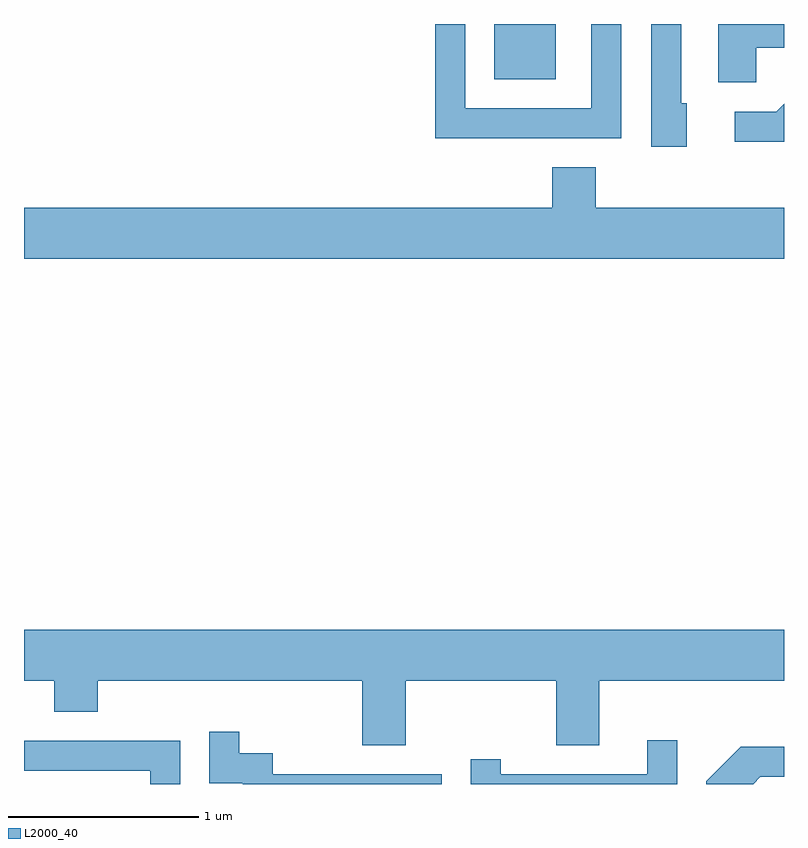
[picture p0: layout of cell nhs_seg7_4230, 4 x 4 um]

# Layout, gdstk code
import gdstk
lib = gdstk.Library(unit=1e-6, precision=1e-09)
def R(c, l, rs):  # rectangles x0, y0, x1, y1
    for r in rs: c.add(gdstk.rectangle(r[:2], r[2:], *l))
def P(c, l, *ps):  # polygons
    for p in ps: c.add(gdstk.Polygon(p, *l))
L2000_40 = (2000, 40)

nhs_seg7_4230 = lib.new_cell('nhs_seg7_4230')
R(nhs_seg7_4230, L2000_40, [(318.086,1681.961,318.409,1682.252)])
P(nhs_seg7_4230, L2000_40, [(319.099,1681.834),(319.069,1681.834),(319.069,1682.252),(318.911,1682.252),(318.911,1681.606),(319.099,1681.606)],
  [(318.754,1682.252),(318.596,1682.252),(318.596,1681.809),(317.934,1681.809),(317.934,1682.252),(317.776,1682.252),(317.776,1681.651),(318.754,1681.651)],
  [(319.464,1682.126),(319.611,1682.126),(319.611,1682.252),(319.266,1682.252),(319.266,1681.946),(319.464,1681.946)],
  [(319.611,1681.831),(319.569,1681.789),(319.353,1681.789),(319.353,1681.631),(319.611,1681.631)],
  [(319.611,1681.284),(318.619,1681.284),(318.619,1681.499),(318.391,1681.499),(318.391,1681.284),(315.611,1681.284),(315.611,1681.016),(319.611,1681.016)],
  [(317.619,1678.796),(318.411,1678.796),(318.411,1678.456),(318.639,1678.456),(318.639,1678.796),(319.611,1678.796),(319.611,1679.064),(315.611,1679.064),(315.611,1678.796),(315.771,1678.796),(315.771,1678.631),(315.999,1678.631),(315.999,1678.796),(317.391,1678.796),(317.391,1678.456),(317.619,1678.456)],
  [(317.809,1678.304),(316.919,1678.304),(316.919,1678.414),(316.744,1678.414),(316.744,1678.528),(316.586,1678.528),(316.586,1678.256),(316.761,1678.256),(316.761,1678.252),(317.809,1678.252)],
  [(319.049,1678.483),(318.891,1678.483),(318.891,1678.304),(318.119,1678.304),(318.119,1678.383),(317.961,1678.383),(317.961,1678.252),(319.049,1678.252)],
  [(316.434,1678.479),(315.611,1678.479),(315.611,1678.321),(316.276,1678.321),(316.276,1678.252),(316.434,1678.252)],
  [(319.487,1678.291),(319.611,1678.291),(319.611,1678.449),(319.384,1678.449),(319.201,1678.267),(319.201,1678.252),(319.448,1678.252)])

lib.write_gds('nhs_seg7_4230.gds')
